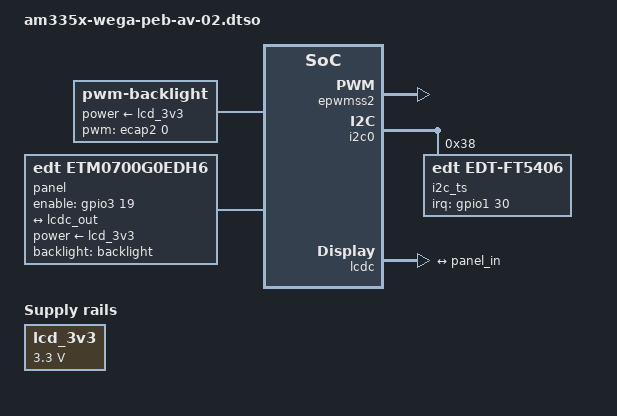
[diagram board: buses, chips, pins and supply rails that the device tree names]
// SPDX-License-Identifier: (GPL-2.0+ OR MIT)
/*
 * Copyright (C) 2022 PHYTEC Messtechnik GmbH
 * Author: Dominik Haller <d.haller@phytec.de>
 */
/dts-v1/;
/plugin/;

#include <dt-bindings/pinctrl/am33xx.h>
#include <dt-bindings/interrupt-controller/irq.h>
#include <dt-bindings/gpio/gpio.h>

&am33xx_pinmux {
	ecap2_pins: pinmux-ecap2 {
		pinctrl-single,pins = <
			AM33XX_IOPAD(AM335X_PIN_MCASP0_AHCLKR, PIN_OUTPUT | MUX_MODE4)		/* mcasp0_ahclkr.ecap2_in_pwm2_out	*/
		>;
	};

	lcd_pins: pinmux-lcd {
		pinctrl-single,pins = <
			AM33XX_IOPAD(AM335X_PIN_LCD_DATA0, PIN_OUTPUT | MUX_MODE0)
			AM33XX_IOPAD(AM335X_PIN_LCD_DATA1, PIN_OUTPUT | MUX_MODE0)
			AM33XX_IOPAD(AM335X_PIN_LCD_DATA2, PIN_OUTPUT | MUX_MODE0)
			AM33XX_IOPAD(AM335X_PIN_LCD_DATA3, PIN_OUTPUT | MUX_MODE0)
			AM33XX_IOPAD(AM335X_PIN_LCD_DATA4, PIN_OUTPUT | MUX_MODE0)
			AM33XX_IOPAD(AM335X_PIN_LCD_DATA5, PIN_OUTPUT | MUX_MODE0)
			AM33XX_IOPAD(AM335X_PIN_LCD_DATA6, PIN_OUTPUT | MUX_MODE0)
			AM33XX_IOPAD(AM335X_PIN_LCD_DATA7, PIN_OUTPUT | MUX_MODE0)
			AM33XX_IOPAD(AM335X_PIN_LCD_DATA8, PIN_OUTPUT | MUX_MODE0)
			AM33XX_IOPAD(AM335X_PIN_LCD_DATA9, PIN_OUTPUT | MUX_MODE0)
			AM33XX_IOPAD(AM335X_PIN_LCD_DATA10, PIN_OUTPUT | MUX_MODE0)
			AM33XX_IOPAD(AM335X_PIN_LCD_DATA11, PIN_OUTPUT | MUX_MODE0)
			AM33XX_IOPAD(AM335X_PIN_LCD_DATA12, PIN_OUTPUT | MUX_MODE0)
			AM33XX_IOPAD(AM335X_PIN_LCD_DATA13, PIN_OUTPUT | MUX_MODE0)
			AM33XX_IOPAD(AM335X_PIN_LCD_DATA14, PIN_OUTPUT | MUX_MODE0)
			AM33XX_IOPAD(AM335X_PIN_LCD_DATA15, PIN_OUTPUT | MUX_MODE0)
			AM33XX_IOPAD(AM335X_PIN_GPMC_AD15, PIN_OUTPUT | MUX_MODE1)	/* gpmc_ad15.lcd_data16 */
			AM33XX_IOPAD(AM335X_PIN_GPMC_AD14, PIN_OUTPUT | MUX_MODE1)	/* gpmc_ad14.lcd_data17 */
			AM33XX_IOPAD(AM335X_PIN_GPMC_AD13, PIN_OUTPUT | MUX_MODE1)	/* gpmc_ad13.lcd_data18 */
			AM33XX_IOPAD(AM335X_PIN_GPMC_AD12, PIN_OUTPUT | MUX_MODE1)	/* gpmc_ad12.lcd_data19 */
			AM33XX_IOPAD(AM335X_PIN_GPMC_AD11, PIN_OUTPUT | MUX_MODE1)	/* gpmc_ad11.lcd_data20 */
			AM33XX_IOPAD(AM335X_PIN_GPMC_AD10, PIN_OUTPUT | MUX_MODE1)	/* gpmc_ad10.lcd_data21 */
			AM33XX_IOPAD(AM335X_PIN_GPMC_AD9, PIN_OUTPUT | MUX_MODE1)	/* gpmc_ad9.lcd_data22 */
			AM33XX_IOPAD(AM335X_PIN_GPMC_AD8, PIN_OUTPUT | MUX_MODE1)	/* gpmc_ad8.lcd_data23 */
			AM33XX_IOPAD(AM335X_PIN_LCD_VSYNC, PIN_OUTPUT | MUX_MODE0)
			AM33XX_IOPAD(AM335X_PIN_LCD_HSYNC, PIN_OUTPUT | MUX_MODE0)
			AM33XX_IOPAD(AM335X_PIN_LCD_PCLK, PIN_OUTPUT | MUX_MODE0)
			AM33XX_IOPAD(AM335X_PIN_LCD_AC_BIAS_EN, PIN_OUTPUT | MUX_MODE0)
		>;
	};

	ts_irq_pin: pinmux-ts-irq-pin {
		pinctrl-single,pins = <
			AM33XX_IOPAD(AM335X_PIN_GPMC_CSN1, PIN_INPUT_PULLUP | MUX_MODE7)	/* gpmc_csn1.x_av_int_gpio1_30	*/
		>;
	};
};

&epwmss2 {
	status = "okay";

	ecap2: pwm@100 {
		#pwm-cells = <3>;
		pinctrl-names = "default";
		pinctrl-0 = <&ecap2_pins>;
		status = "okay";
	};
};

&i2c0 {
	#address-cells = <1>;
	#size-cells = <0>;

	i2c_ts: touchscreen@38 {
		compatible = "edt,edt-ft5406";
		reg = <0x38>;
		pinctrl-names = "default";
		pinctrl-0 = <&ts_irq_pin>;
		interrupt-parent = <&gpio1>;
		interrupts = <30 IRQ_TYPE_NONE>;
	};
};

&lcdc {
	blue-and-red-wiring = "crossed";
	invert-pxl-clk;
	status = "okay";

	port {
		lcdc_out: endpoint@0 {
			remote-endpoint = <&panel_in>;
		};
	};

};

&{/}{
	backlight: backlight {
		compatible = "pwm-backlight";
		brightness-levels = <0 4 8 16 32 64 128 255>;
		default-brightness-level = <6>;
		power-supply = <&lcd_3v3>;
		pwms = <&ecap2 0 100000 0>;
	};

	lcd_3v3: fixedregulator-lcd {
		compatible = "regulator-fixed";
		regulator-name = "lcd_3v3";
		regulator-min-microvolt = <3300000>;
		regulator-max-microvolt = <3300000>;
		regulator-boot-on;
	};

	panel: panel {
		compatible = "edt,etm0700g0edh6";
		pinctrl-names = "default";
		pinctrl-0 = <&lcd_pins>;
		backlight = <&backlight>;
		enable-gpios = <&gpio3 19 GPIO_ACTIVE_HIGH>;
		power-supply = <&lcd_3v3>;

		port {
			panel_in: endpoint@0 {
			remote-endpoint = <&lcdc_out>;
			};
		};
	};
};
